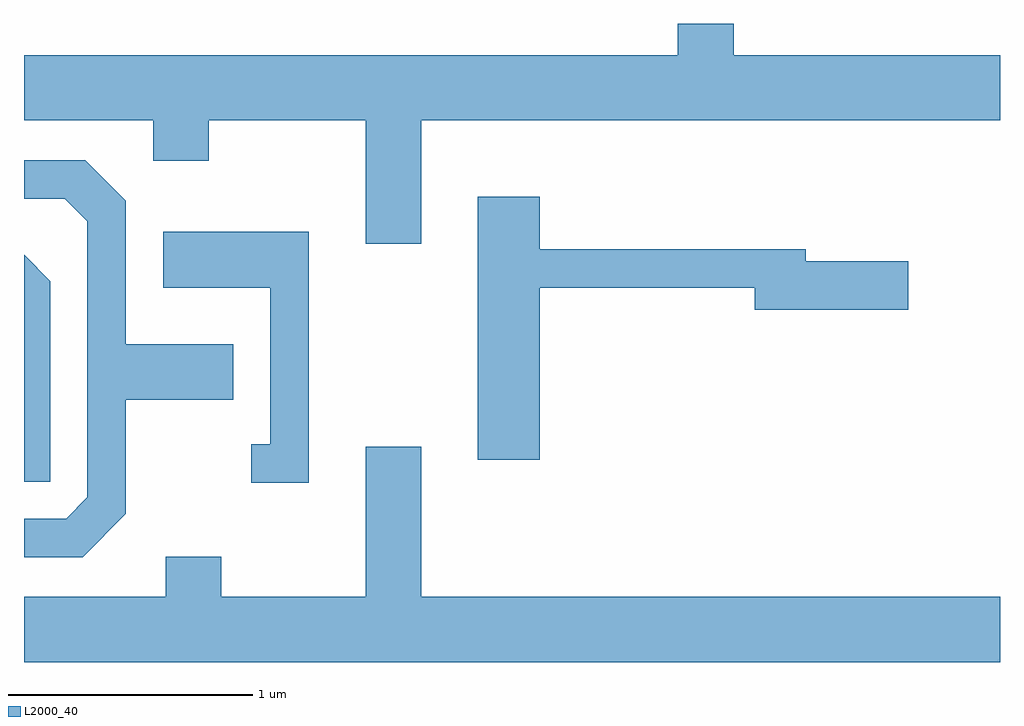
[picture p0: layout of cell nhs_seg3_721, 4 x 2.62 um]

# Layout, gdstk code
import gdstk
lib = gdstk.Library(unit=1e-6, precision=1e-09)
def P(c, l, *ps):  # polygons
    for p in ps: c.add(gdstk.Polygon(p, *l))
L2000_40 = (2000, 40)

nhs_seg3_721 = lib.new_cell('nhs_seg3_721')
P(nhs_seg3_721, L2000_40, [(207.239,1201.496),(209.611,1201.496),(209.611,1201.764),(208.519,1201.764),(208.519,1201.892),(208.291,1201.892),(208.291,1201.764),(205.611,1201.764),(205.611,1201.496),(206.141,1201.496),(206.141,1201.331),(206.369,1201.331),(206.369,1201.496),(207.011,1201.496),(207.011,1200.991),(207.239,1200.991)],
  [(206.029,1199.884),(206.029,1200.351),(206.469,1200.351),(206.469,1200.579),(206.029,1200.579),(206.029,1201.167),(205.862,1201.334),(205.611,1201.334),(205.611,1201.176),(205.779,1201.176),(205.871,1201.084),(205.871,1199.952),(205.784,1199.864),(205.611,1199.864),(205.611,1199.706),(205.852,1199.706)],
  [(207.724,1200.811),(208.606,1200.811),(208.606,1200.721),(209.234,1200.721),(209.234,1200.919),(208.814,1200.919),(208.814,1200.969),(207.724,1200.969),(207.724,1201.184),(207.471,1201.184),(207.471,1200.106),(207.724,1200.106)],
  [(206.779,1201.039),(206.181,1201.039),(206.181,1200.811),(206.621,1200.811),(206.621,1200.169),(206.543,1200.169),(206.543,1200.011),(206.779,1200.011)],
  [(205.719,1200.837),(205.611,1200.945),(205.611,1200.016),(205.719,1200.016)],
  [(209.611,1199.544),(207.239,1199.544),(207.239,1200.159),(207.011,1200.159),(207.011,1199.544),(206.419,1199.544),(206.419,1199.709),(206.191,1199.709),(206.191,1199.544),(205.611,1199.544),(205.611,1199.276),(209.611,1199.276)])

lib.write_gds('nhs_seg3_721.gds')
